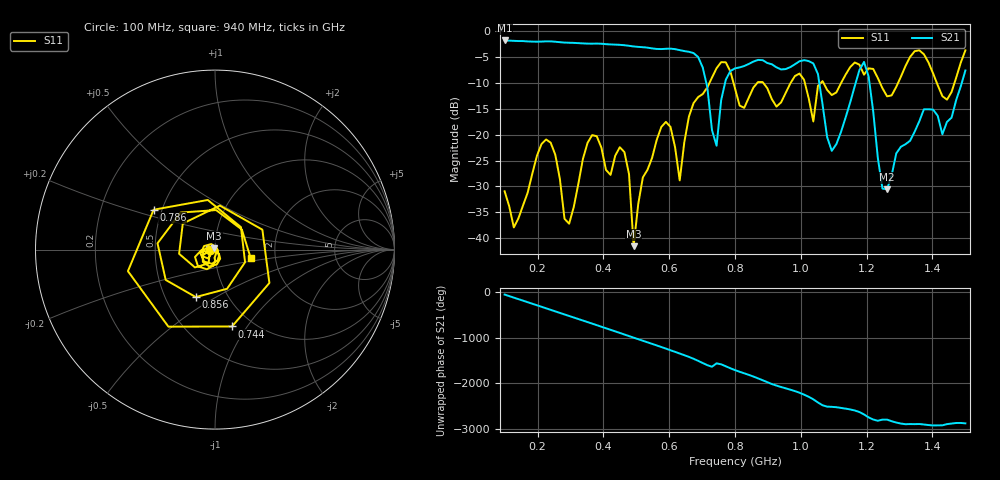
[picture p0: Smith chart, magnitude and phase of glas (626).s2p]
! NanoVNA-App
! Date: 2025-09-25 16:00:21
! Start: 100MHz Stop: 1,5GHz Points: 101
! S-Parameter data: F S11 S21 S12 S22
# Hz S RI R 50
!  Frequency  S11_Real  S11_Imag  S21_Real  S21_Imag  S12_Real  S12_Imag  S22_Real  S22_Imag
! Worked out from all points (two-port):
!   101 points, 100 MHz to 1.5 GHz, reference 50 ohm
!   highest |S21| = -1.80 dB at 100 MHz (marker M1); lowest = -30.5 dB at 1.262 GHz (marker M2)
!   |S21| within 3 dB of the highest: start of sweep to 684.5 MHz
!   lowest |S11| = -41.5 dB at 492 MHz (marker M3), VSWR 1.02, Z = 49.5 + j0.651 ohm
!   |S11| at or under -10 dB: start of sweep to 722.4 MHz; 795.4 MHz to 867.8 MHz (72.35 MHz wide, 8.7 % of centre); 885.9 MHz to 969.1 MHz (83.15 MHz wide, 8.96 % of centre) (the widest 3 of 7)
!   S12 and S22 are empty: the file has one direction only
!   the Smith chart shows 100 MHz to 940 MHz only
!   S11 on the Smith chart (normalised r, x): 100 MHz: 0.95, -0.01; 744 MHz: 0.81, -0.85; 786 MHz: 0.45, +0.24; 856 MHz: 0.71, -0.41; 940 MHz: 1.49, -0.15
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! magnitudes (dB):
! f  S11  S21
! 100 MHz  -30.9  -1.8
! 128 MHz  -37.9  -1.9
! 226 MHz  -20.9  -2.0
! 296 MHz  -37.2  -2.2
! 338 MHz  -24.7  -2.4
! 464 MHz  -23.4  -2.7
! 492 MHz  -41.5  -3.0
! 576 MHz  -18.5  -3.5
! 632 MHz  -28.8  -3.7
! 702 MHz  -12.2  -7.0
! 744 MHz  -7.2  -22.1
! 786 MHz  -7.8  -7.7
! 800 MHz  -11.1  -7.2
! 856 MHz  -10.9  -5.9
! 940 MHz  -13.8  -7.4
! 996 MHz  -8.2  -5.8
! 1.038 GHz  -17.4  -6.2
! 1.094 GHz  -12.3  -23.1
! 1.192 GHz  -8.4  -6.0
! 1.262 GHz  -12.6  -30.5
! 1.276 GHz  -12.4  -27.8
! 1.5 GHz  -3.7  -7.6
